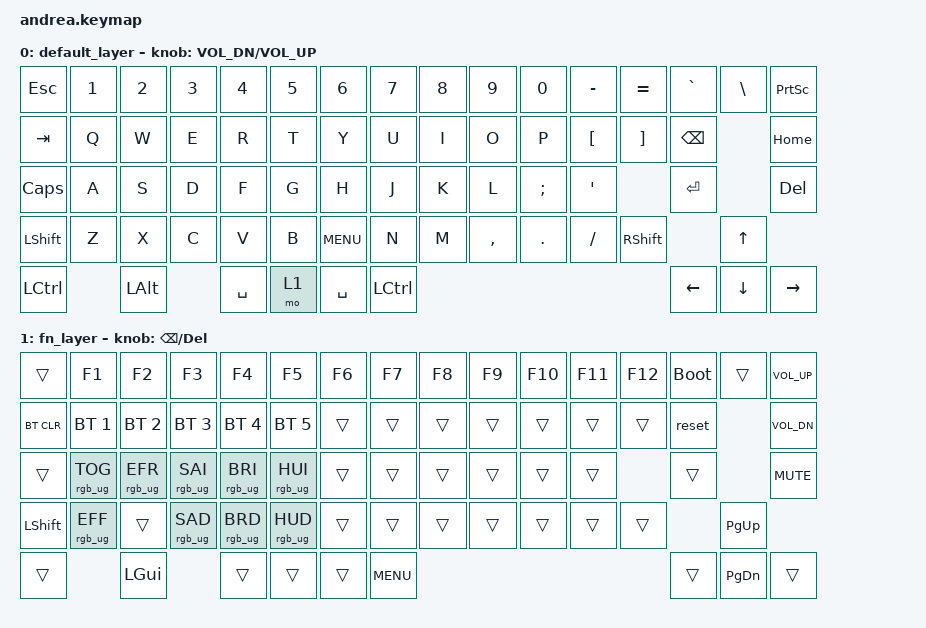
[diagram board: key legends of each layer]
#include <behaviors.dtsi>
#include <dt-bindings/zmk/keys.h>
#include <dt-bindings/zmk/bt.h>
#include <dt-bindings/zmk/outputs.h>
#include <dt-bindings/zmk/rgb.h>
#include <dt-bindings/zmk/ext_power.h>

#define FN 1

/ {
	keymap {
		compatible = "zmk,keymap";

		default_layer {
// -----------------------------------------------------------------------------------------
//   | ESC        | 1     | 2     | 3     | 4     | 5     | 6     | 7     | 8     | 9     | 0     | -     | =     | GRAVE | \     | PRSC  |   
//   | TAB        | Q     | W     | E     | R     | T     | Y     | U     | I     | O     | P     | [     | ]     | BACKSPACE     | HOME  |  
//   | CAPS       | A     | S     | D     | F     | G     | H     | J     | K     | L     | ;     | '     |         ENTER |         DEL   |  
//   | SHIFT      | Z     | X     | C     | V     | B     | B     | N     | M     | ,     | .     | /     | SHIFT |         UP    |
//   | CTRL       |         ALT   |  SPACE  |      LT(BSPC, 1)  |  SPACE  | CTRL  |                                 LEFT  | DOWN  | RIGHT |   

			bindings = <
    &kp ESC          &kp NUM_1        &kp NUM_2     &kp NUM_3     &kp NUM_4     &kp NUM_5        &kp NUM_6        &kp NUM_7        &kp NUM_8        &kp NUM_9        &kp NUM_0        &kp MINUS        &kp EQL          &kp GRAVE        &kp BSLH        &kp PSCRN
    &kp TAB          &kp Q            &kp W         &kp E         &kp R         &kp T            &kp Y            &kp U            &kp I            &kp O            &kp P            &kp LBKT         &kp RBKT         &kp BSPC                         &kp HOME
    &kp CAPS         &kp A            &kp S         &kp D         &kp F         &kp G            &kp H            &kp J            &kp K            &kp L            &kp SCLN         &kp QUOT                          &kp ENTER                        &kp DEL
    &kp LSHFT        &kp Z            &kp X         &kp C         &kp V         &kp B            &kp C_MENU       &kp N            &kp M            &kp CMMA         &kp DOT          &kp FSLH         &kp RSHFT                         &kp UP
    &kp LCTRL                         &kp LALT                    &kp SPACE     &mo 1            &kp SPACE        &kp LCTRL                                                                                              &kp LEFT         &kp DOWN        &kp RIGHT
			>;
			
			sensor-bindings = <&inc_dec_kp C_VOL_DN C_VOL_UP>;
			
		};

		fn_layer {
// -----------------------------------------------------------------------------------------
//   | TRANS | F1     | F2       | F3     | F4     | F5       | F6    | F7    | F8    | F9    | F10   | F11   | F12   | BOOTLOADER  | TRANS | MUTE  |
//   | BT_CLR|BT_SEL 1| BT_SEL 2 |BT_SEL 3|BT_SEL 4| BT_SEL 5 | TRANS | TRANS | TRANS | TRANS | TRANS | TRANS | TRANS | RESET       |         NEXT T|
//   |TRANS  |RGB_TOG |  RGB_EFR |RGB_SAI |RGB_BRI | RGB_HUI  | TRANS | TRANS | TRANS | TRANS | TRANS | TRANS |         TRANS       |         PREV T|
//   | SHIFT | RGB_EFF| TRANS    |RGB_SAD |RGB_BRD | RGB_HUD  | TRANS | TRANS | TRANS | TRANS | TRANS | TRANS | TRANS |               PG_UP |
//   | TRANS |         GUI   |         TRANS | TRANS    |         TRANS | MENU  |                                            HOME   | PG_DN | END   |

			bindings = <
    &trans           &kp F1           &kp F2           &kp F3          &kp F4          &kp F5            &kp F6           &kp F7           &kp F8           &kp F9           &kp F10          &kp F11          &kp F12          &bootloader      &trans         &kp C_VOL_UP
    &bt BT_CLR       &bt BT_SEL 1     &bt BT_SEL 2     &bt BT_SEL 3    &bt BT_SEL 4    &bt BT_SEL 5      &trans           &trans           &trans           &trans           &trans           &trans           &trans           &reset                          &kp C_VOL_DN
    &trans           &rgb_ug RGB_TOG  &rgb_ug RGB_EFR  &rgb_ug RGB_SAI &rgb_ug RGB_BRI &rgb_ug RGB_HUI   &trans           &trans           &trans           &trans           &trans           &trans                            &trans                          &kp C_MUTE
    &kp LSHFT        &rgb_ug RGB_EFF  &trans           &rgb_ug RGB_SAD &rgb_ug RGB_BRD &rgb_ug RGB_HUD   &trans           &trans           &trans           &trans           &trans           &trans           &trans                            &kp PG_UP
    &trans                            &kp LGUI                         &trans          &trans        &trans           &kp C_MENU                                                                                                  &trans         &kp PG_DN      &trans        
			>;

			sensor-bindings = <&inc_dec_kp BKSP   DEL>;

		};

	};
};
